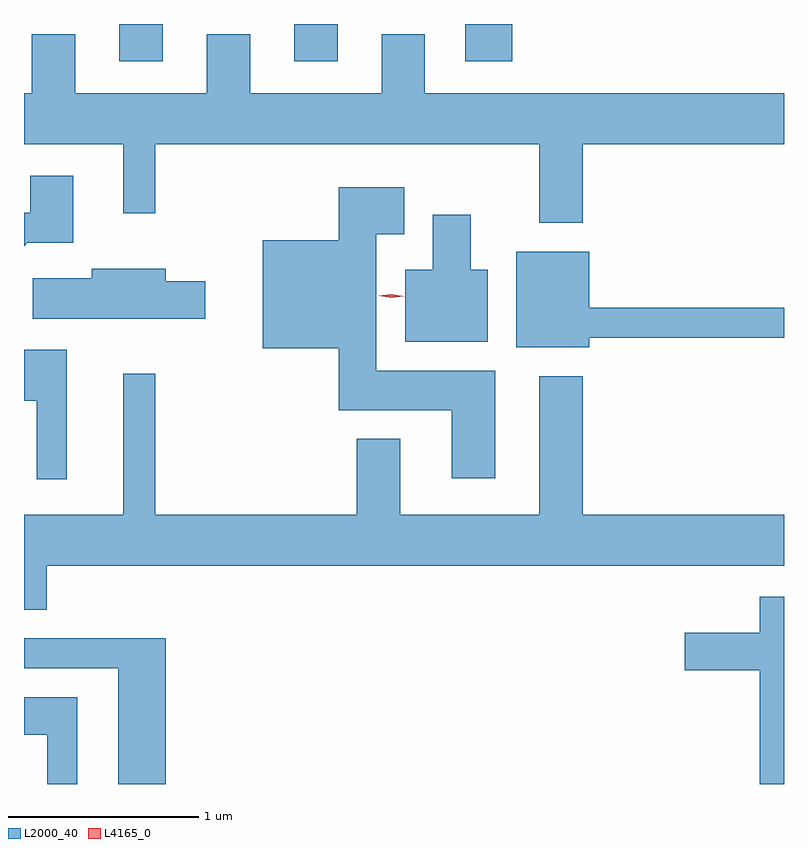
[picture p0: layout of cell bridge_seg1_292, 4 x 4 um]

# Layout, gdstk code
import gdstk
lib = gdstk.Library(unit=1e-6, precision=1e-09)
def R(c, l, rs):  # rectangles x0, y0, x1, y1
    for r in rs: c.add(gdstk.rectangle(r[:2], r[2:], *l))
def P(c, l, *ps):  # polygons
    for p in ps: c.add(gdstk.Polygon(p, *l))
L2000_40 = (2000, 40)
L4165_0 = (4165, 0)

bridge_seg1_292 = lib.new_cell('bridge_seg1_292')
R(bridge_seg1_292, L2000_40, [(882.361,895.571,882.589,895.768), (883.281,895.571,883.509,895.768), (884.181,895.571,884.429,895.768)])
P(bridge_seg1_292, L2000_40, [(883.741,895.714),(883.741,895.404),(883.049,895.404),(883.049,895.714),(882.821,895.714),(882.821,895.404),(882.129,895.404),(882.129,895.714),(881.901,895.714),(881.901,895.404),(881.859,895.404),(881.859,895.136),(882.381,895.136),(882.381,894.773),(882.549,894.773),(882.549,895.136),(884.571,895.136),(884.571,894.721),(884.799,894.721),(884.799,895.136),(885.859,895.136),(885.859,895.404),(883.969,895.404),(883.969,895.714)],
  [(881.877,894.616),(882.119,894.616),(882.119,894.969),(881.891,894.969),(881.891,894.774),(881.859,894.774),(881.859,894.598)],
  [(884.339,893.944),(883.714,893.944),(883.714,894.661),(883.859,894.661),(883.859,894.909),(883.516,894.909),(883.516,894.629),(883.116,894.629),(883.116,894.061),(883.516,894.061),(883.516,893.736),(884.111,893.736),(884.111,893.376),(884.339,893.376)],
  [(884.299,894.474),(884.209,894.474),(884.209,894.764),(884.011,894.764),(884.011,894.474),(883.866,894.474),(883.866,894.096),(884.299,894.096)],
  [(884.834,894.116),(885.859,894.116),(885.859,894.274),(884.834,894.274),(884.834,894.569),(884.451,894.569),(884.451,894.066),(884.834,894.066)],
  [(882.814,894.414),(882.604,894.414),(882.604,894.479),(882.216,894.479),(882.216,894.429),(881.906,894.429),(881.906,894.216),(882.814,894.216)],
  [(882.084,894.054),(881.859,894.054),(881.859,893.786),(881.926,893.786),(881.926,893.373),(882.084,893.373)],
  [(881.979,892.916),(885.859,892.916),(885.859,893.184),(884.799,893.184),(884.799,893.914),(884.571,893.914),(884.571,893.184),(883.839,893.184),(883.839,893.584),(883.611,893.584),(883.611,893.184),(882.549,893.184),(882.549,893.928),(882.381,893.928),(882.381,893.184),(881.859,893.184),(881.859,892.686),(881.979,892.686)],
  [(885.859,892.754),(885.731,892.754),(885.731,892.564),(885.336,892.564),(885.336,892.366),(885.731,892.366),(885.731,891.768),(885.859,891.768)],
  [(882.604,892.534),(881.859,892.534),(881.859,892.376),(882.356,892.376),(882.356,891.768),(882.604,891.768)],
  [(882.139,892.224),(881.859,892.224),(881.859,892.026),(881.981,892.026),(881.981,891.768),(882.139,891.768)])
P(bridge_seg1_292, L4165_0, [(883.791,894.327),(883.726,894.337),(883.725,894.338),(883.726,894.338),(883.792,894.346),(883.858,894.336),(883.858,894.335),(883.858,894.335)])

lib.write_gds('bridge_seg1_292.gds')
